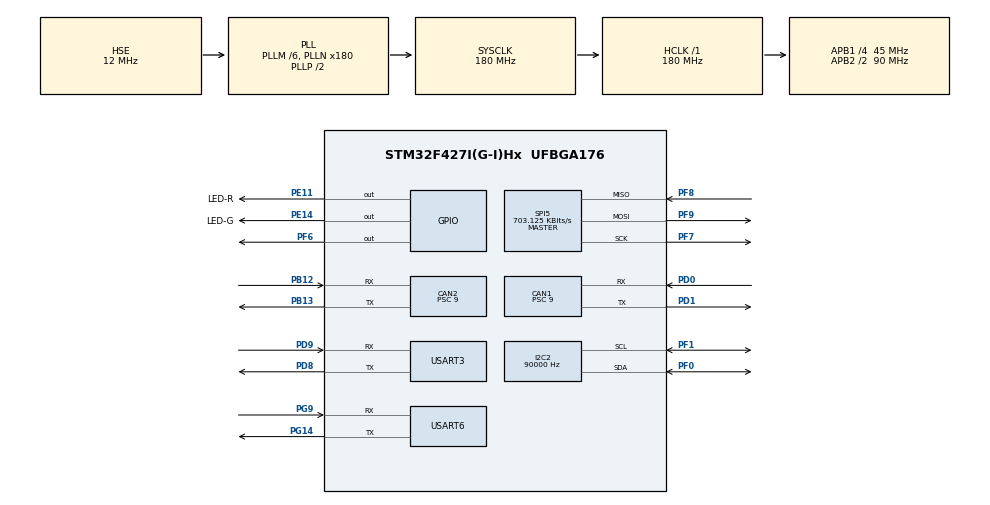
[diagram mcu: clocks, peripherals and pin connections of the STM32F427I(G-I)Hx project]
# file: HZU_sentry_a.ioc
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CAN1.BS1=CAN_BS1_3TQ
CAN1.CalculateBaudRate=1000000
CAN1.CalculateTimeBit=1000
CAN1.CalculateTimeQuantum=200.0
CAN1.Prescaler=9
CAN2.BS1=CAN_BS1_3TQ
CAN2.CalculateBaudRate=1000000
CAN2.CalculateTimeBit=1000
CAN2.CalculateTimeQuantum=200.0
CAN2.Prescaler=9
Dma.Request0=USART3_RX
Dma.Request1=USART3_TX
Dma.USART3_RX.0.Direction=DMA_PERIPH_TO_MEMORY
Dma.USART3_RX.0.FIFOMode=DMA_FIFOMODE_DISABLE
Dma.USART3_RX.0.Instance=DMA1_Stream1
Dma.USART3_RX.0.MemDataAlignment=DMA_MDATAALIGN_BYTE
Dma.USART3_RX.0.MemInc=DMA_MINC_ENABLE
Dma.USART3_RX.0.Mode=DMA_NORMAL
Dma.USART3_RX.0.PeriphDataAlignment=DMA_PDATAALIGN_BYTE
Dma.USART3_RX.0.PeriphInc=DMA_PINC_DISABLE
Dma.USART3_RX.0.Priority=DMA_PRIORITY_VERY_HIGH
Dma.USART3_TX.1.Direction=DMA_MEMORY_TO_PERIPH
Dma.USART3_TX.1.FIFOMode=DMA_FIFOMODE_DISABLE
Dma.USART3_TX.1.Instance=DMA1_Stream3
Dma.USART3_TX.1.MemDataAlignment=DMA_MDATAALIGN_BYTE
Dma.USART3_TX.1.MemInc=DMA_MINC_ENABLE
Dma.USART3_TX.1.Mode=DMA_NORMAL
Dma.USART3_TX.1.PeriphDataAlignment=DMA_PDATAALIGN_BYTE
Dma.USART3_TX.1.PeriphInc=DMA_PINC_DISABLE
Dma.USART3_TX.1.Priority=DMA_PRIORITY_VERY_HIGH
FREERTOS.INCLUDE_pcTaskGetTaskName=1
FREERTOS.INCLUDE_uxTaskGetStackHighWaterMark2=1
FREERTOS.INCLUDE_vTaskCleanUpResources=1
FREERTOS.INCLUDE_xEventGroupSetBitFromISR=1
FREERTOS.INCLUDE_xSemaphoreGetMutexHolder=1
FREERTOS.INCLUDE_xTaskAbortDelay=1
FREERTOS.INCLUDE_xTaskGetHandle=1
FREERTOS.Tasks01=defaultTask,24,256,StartDefaultTask,Default,NULL,Dynamic,NULL,NULL
FREERTOS.configENABLE_BACKWARD_COMPATIBILITY=0
FREERTOS.configENABLE_FPU=1
FREERTOS.configGENERATE_RUN_TIME_STATS=1
FREERTOS.configRECORD_STACK_HIGH_ADDRESS=1
FREERTOS.configUSE_STATS_FORMATTING_FUNCTIONS=1
I2C2.ClockSpeed=90000
I2C2.I2C_Mode=I2C_Standard
Mcu.Family=STM32F4
Mcu.Name=STM32F427I(G-I)Hx
Mcu.Package=UFBGA176
NVIC.CAN1_RX0_IRQn=true\:5\:0\:false\:false\:true\:true\:true\:true\:true
NVIC.CAN2_RX0_IRQn=true\:5\:0\:false\:false\:true\:true\:true\:true\:true
NVIC.DMA1_Stream1_IRQn=true\:5\:0\:false\:false\:true\:true\:false\:true\:true
NVIC.DMA1_Stream3_IRQn=true\:5\:0\:false\:false\:true\:true\:false\:true\:true
NVIC.I2C2_EV_IRQn=true\:5\:0\:false\:false\:true\:true\:true\:true\:true
NVIC.PriorityGroup=NVIC_PRIORITYGROUP_4
NVIC.TIM1_UP_TIM10_IRQn=true\:5\:0\:false\:false\:true\:false\:false\:true\:true
NVIC.TIM3_IRQn=true\:5\:0\:false\:false\:true\:true\:true\:true\:true
NVIC.TIM4_IRQn=true\:5\:0\:false\:false\:true\:true\:true\:true\:true
NVIC.TimeBase=TIM1_UP_TIM10_IRQn
NVIC.TimeBaseIP=TIM1
NVIC.USART3_IRQn=true\:5\:0\:false\:false\:true\:true\:true\:true\:true
NVIC.USART6_IRQn=true\:5\:0\:false\:false\:true\:true\:true\:true\:true
PA13.Mode=Serial_Wire
PA13.Signal=SYS_JTMS-SWDIO
PA14.Mode=Serial_Wire
PA14.Signal=SYS_JTCK-SWCLK
PB12.Mode=CAN_Activate
PB12.Signal=CAN2_RX
PB13.Mode=CAN_Activate
PB13.Signal=CAN2_TX
PC14/OSC32_IN.Mode=LSE-External-Oscillator
PC14/OSC32_IN.Signal=RCC_OSC32_IN
PC15/OSC32_OUT.Mode=LSE-External-Oscillator
PC15/OSC32_OUT.Signal=RCC_OSC32_OUT
PD0.Mode=CAN_Activate
PD0.Signal=CAN1_RX
PD1.Mode=CAN_Activate
PD1.Signal=CAN1_TX
PD8.Mode=Asynchronous
PD8.Signal=USART3_TX
PD9.Mode=Asynchronous
PD9.Signal=USART3_RX
PE11.GPIO_Label=LED-R
PE11.GPIO_PuPd=GPIO_PULLUP
PE11.GPIO_Speed=GPIO_SPEED_FREQ_VERY_HIGH
PE11.Signal=GPIO_Output
PE14.GPIO_Label=LED-G
PE14.GPIO_PuPd=GPIO_PULLUP
PE14.GPIO_Speed=GPIO_SPEED_FREQ_VERY_HIGH
PE14.Signal=GPIO_Output
PF0.Mode=I2C
PF0.Signal=I2C2_SDA
PF1.Mode=I2C
PF1.Signal=I2C2_SCL
PF6.Signal=GPIO_Output
PF7.Mode=Full_Duplex_Master
PF7.Signal=SPI5_SCK
PF8.Mode=Full_Duplex_Master
PF8.Signal=SPI5_MISO
PF9.Mode=Full_Duplex_Master
PF9.Signal=SPI5_MOSI
PG14.Mode=Asynchronous
PG14.Signal=USART6_TX
PG9.Mode=Asynchronous
PG9.Signal=USART6_RX
PH0/OSC_IN.Mode=HSE-External-Oscillator
PH0/OSC_IN.Signal=RCC_OSC_IN
PH1/OSC_OUT.Mode=HSE-External-Oscillator
PH1/OSC_OUT.Signal=RCC_OSC_OUT
ProjectManager.HeapSize=0x200
ProjectManager.StackSize=0x400
ProjectManager.TargetToolchain=MDK-ARM V5.32
RCC.48MHZClocksFreq_Value=45000000
RCC.AHBFreq_Value=180000000
RCC.APB1CLKDivider=RCC_HCLK_DIV4
RCC.APB1Freq_Value=45000000
RCC.APB1TimFreq_Value=90000000
RCC.APB2CLKDivider=RCC_HCLK_DIV2
RCC.APB2Freq_Value=90000000
RCC.APB2TimFreq_Value=180000000
RCC.CortexFreq_Value=180000000
RCC.HCLKFreq_Value=180000000
RCC.HSE_VALUE=12000000
RCC.HSI_VALUE=16000000
RCC.PLLM=6
RCC.PLLN=180
RCC.PLLQ=8
RCC.PLLSourceVirtual=RCC_PLLSOURCE_HSE
RCC.SYSCLKFreq_VALUE=180000000
RCC.SYSCLKSource=RCC_SYSCLKSOURCE_PLLCLK
RCC.VCOOutputFreq_Value=360000000
SPI5.BaudRatePrescaler=SPI_BAUDRATEPRESCALER_128
SPI5.CalculateBaudRate=703.125 KBits/s
SPI5.Direction=SPI_DIRECTION_2LINES
SPI5.Mode=SPI_MODE_MASTER
SPI5.VirtualType=VM_MASTER
TIM3.Period=54
TIM3.Prescaler=84
TIM4.Period=2
TIM4.Prescaler=5
USART3.VirtualMode=VM_ASYNC
USART6.VirtualMode=VM_ASYNC
VP_FREERTOS_VS_CMSIS_V2.Mode=CMSIS_V2
VP_SYS_VS_tim1.Mode=TIM1
VP_TIM3_VS_ClockSourceINT.Mode=Internal
VP_TIM4_VS_ClockSourceINT.Mode=Internal
board=custom

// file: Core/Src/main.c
/* USER CODE BEGIN Header */
/**
  ******************************************************************************
  * @file           : main.c
  * @brief          : Main program body
  ******************************************************************************
  * @attention
  *
  * Copyright (c) 2023 STMicroelectronics.
  * All rights reserved.
  *
  * This software is licensed under terms that can be found in the LICENSE file
  * in the root directory of this software component.
  * If no LICENSE file comes with this software, it is provided AS-IS.
  *
  ******************************************************************************
  */
/* USER CODE END Header */
#include "main.h"
#include "cmsis_os.h"
#include "can.h"
#include "dma.h"
#include "i2c.h"
#include "spi.h"
#include "tim.h"
#include "usart.h"
#include "gpio.h"

/* USER CODE BEGIN Includes */
#include "string.h"
#include "chassis_task.h"
#include "ULTRASONIC_task.h"
#include "stm32f4xx_hal_rng.h"
#include "judge.h"
/* USER CODE END Includes */

/* USER CODE BEGIN PM */
volatile int time;
volatile long long us_5;
/* USER CODE END PM */

/* USER CODE BEGIN PV */
extern uint8_t abuffer;
volatile uint8_t odometer_sign;

uint8_t usart3_rx_data[usart3_RX_BUFF_SIZE];
extern UART_HandleTypeDef huart3;
extern DMA_HandleTypeDef hdma_usart3_rx;
extern DMA_HandleTypeDef hdma_usart3_tx;
/* USER CODE END PV */

void SystemClock_Config(void);
void MX_FREERTOS_Init(void);
void HAL_UART_RxCpltCallback(UART_HandleTypeDef *huart)
{
		__HAL_UART_CLEAR_IDLEFLAG(&huart3);
		HAL_UART_DMAStop(&huart3);                                        //??????DMA????
		uint8_t data_length  = DMA_UsART3_SIZE - __HAL_DMA_GET_COUNTER(&hdma_usart3_tx);   //?????????????????
		process_judge_message( usart3_rx_data );
		memset(usart3_rx_data,0,data_length);                                            //????????????
		HAL_UART_Receive_DMA(&huart3, usart3_rx_data, DMA_UsART3_SIZE);                    //???????DMA???? ???255???????
}

int main(void)
{

  /* MCU Configuration--------------------------------------------------------*/

  /* Reset of all peripherals, Initializes the Flash interface and the Systick. */
  HAL_Init();

  /* Configure the system clock */
  SystemClock_Config();

  /* Initialize all configured peripherals */
  MX_GPIO_Init();
  MX_DMA_Init();
  MX_TIM3_Init();
  MX_CAN1_Init();
  MX_CAN2_Init();
  MX_USART3_UART_Init();
  MX_SPI5_Init();
  MX_USART6_UART_Init();
  MX_TIM4_Init();
  MX_I2C2_Init();
  /* USER CODE BEGIN 2 */
	delay_init(180);
  freertos_run_tim3_configuration();
  CAN_APP_INIT();    //can过滤器初始化
	extern uint8_t usart3_rx_data[usart3_RX_BUFF_SIZE];
	HAL_UART_Receive_IT(&huart6,(uint8_t*)&abuffer,1);
	HAL_UART_Receive_DMA(&huart3, usart3_rx_data, DMA_UsART3_SIZE);
	HAL_TIM_Base_Init(&htim4);
 HAL_TIM_Base_Start_IT(&htim4);
  /* USER CODE END 2 */

  /* Init scheduler */
  osKernelInitialize();

  /* Call init function for freertos objects (in freertos.c) */
  MX_FREERTOS_Init();

  /* Start scheduler */
  osKernelStart();

  /* We should never get here as control is now taken by the scheduler */
  /* Infinite loop */
  while (1)
  {

  }
}

void SystemClock_Config(void)
{
  RCC_OscInitTypeDef RCC_OscInitStruct = {0};
  RCC_ClkInitTypeDef RCC_ClkInitStruct = {0};

  /** Configure the main internal regulator output voltage
  */
  __HAL_RCC_PWR_CLK_ENABLE();
  __HAL_PWR_VOLTAGESCALING_CONFIG(PWR_REGULATOR_VOLTAGE_SCALE1);

  /** Initializes the RCC Oscillators according to the specified parameters
  * in the RCC_OscInitTypeDef structure.
  */
  RCC_OscInitStruct.OscillatorType = RCC_OSCILLATORTYPE_HSE;
  RCC_OscInitStruct.HSEState = RCC_HSE_ON;
  RCC_OscInitStruct.PLL.PLLState = RCC_PLL_ON;
  RCC_OscInitStruct.PLL.PLLSource = RCC_PLLSOURCE_HSE;
  RCC_OscInitStruct.PLL.PLLM = 6;
  RCC_OscInitStruct.PLL.PLLN = 180;
  RCC_OscInitStruct.PLL.PLLP = RCC_PLLP_DIV2;
  RCC_OscInitStruct.PLL.PLLQ = 8;
  if (HAL_RCC_OscConfig(&RCC_OscInitStruct) != HAL_OK)
  {
    Error_Handler();
  }

  /** Activate the Over-Drive mode
  */
  if (HAL_PWREx_EnableOverDrive() != HAL_OK)
  {
    Error_Handler();
  }

  /** Initializes the CPU, AHB and APB buses clocks
  */
  RCC_ClkInitStruct.ClockType = RCC_CLOCKTYPE_HCLK|RCC_CLOCKTYPE_SYSCLK
                              |RCC_CLOCKTYPE_PCLK1|RCC_CLOCKTYPE_PCLK2;
  RCC_ClkInitStruct.SYSCLKSource = RCC_SYSCLKSOURCE_PLLCLK;
  RCC_ClkInitStruct.AHBCLKDivider = RCC_SYSCLK_DIV1;
  RCC_ClkInitStruct.APB1CLKDivider = RCC_HCLK_DIV4;
  RCC_ClkInitStruct.APB2CLKDivider = RCC_HCLK_DIV2;

  if (HAL_RCC_ClockConfig(&RCC_ClkInitStruct, FLASH_LATENCY_5) != HAL_OK)
  {
    Error_Handler();
  }
}

void HAL_TIM_PeriodElapsedCallback(TIM_HandleTypeDef *htim)
{
  if (htim->Instance == TIM1) {
    HAL_IncTick();
  }
}

void Error_Handler(void)
{
  __disable_irq();
  while (1)
  {
  }
}

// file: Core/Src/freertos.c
/* USER CODE BEGIN Header */
/**
  ******************************************************************************
  * File Name          : freertos.c
  * Description        : Code for freertos applications
  ******************************************************************************
  * @attention
  *
  * Copyright (c) 2023 STMicroelectronics.
  * All rights reserved.
  *
  * This software is licensed under terms that can be found in the LICENSE file
  * in the root directory of this software component.
  * If no LICENSE file comes with this software, it is provided AS-IS.
  *
  ******************************************************************************
  */
/* USER CODE END Header */

#include "FreeRTOS.h"
#include "task.h"
#include "main.h"
#include "cmsis_os.h"

/* Definitions for defaultTask */
osThreadId_t defaultTaskHandle;
const osThreadAttr_t defaultTask_attributes = {
  .name = "defaultTask",
  .stack_size = 256 * 4,
  .priority = (osPriority_t) osPriorityNormal,
};

/* USER CODE BEGIN FunctionPrototypes */
osThreadId_t Start_Task_Handler;
const osThreadAttr_t Start_Task_attr = {
  .name = "Start_Task",
  .priority = (osPriority_t) osPriorityNormal,
  .stack_size = 256 * 4
};
void start_task(void *argument);

/* USER CODE END FunctionPrototypes */

void StartDefaultTask(void *argument);

void MX_FREERTOS_Init(void); /* (MISRA C 2004 rule 8.1) */

/* Hook prototypes */
void configureTimerForRunTimeStats(void);
unsigned long getRunTimeCounterValue(void);

/* USER CODE BEGIN 1 */
/* Functions needed when configGENERATE_RUN_TIME_STATS is on */
__weak void configureTimerForRunTimeStats(void)
{
	freertos_run_time = 0;
    MX_TIM3_Init();

}

__weak unsigned long getRunTimeCounterValue(void)
{
	return freertos_run_time;
}
/* USER CODE END 1 */

void MX_FREERTOS_Init(void) {

  /* Create the thread(s) */
  /* creation of defaultTask */
  defaultTaskHandle = osThreadNew(StartDefaultTask, NULL, &defaultTask_attributes);

  /* USER CODE BEGIN RTOS_THREADS */
  Start_Task_Handler = osThreadNew(start_task, NULL, &Start_Task_attr);
  /* add threads, ... */
  /* USER CODE END RTOS_THREADS */

}

void StartDefaultTask(void *argument)
{
  for(;;)
  {
    osDelay(1);
  }
}
